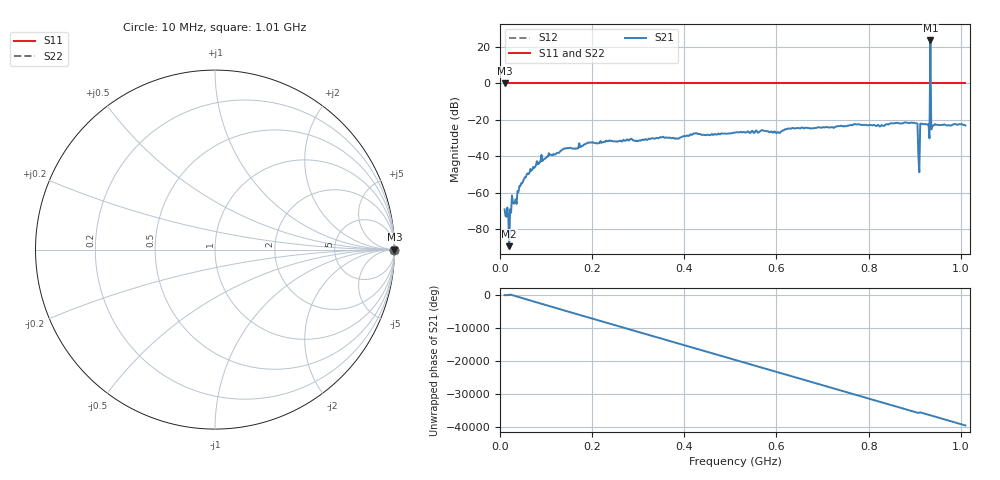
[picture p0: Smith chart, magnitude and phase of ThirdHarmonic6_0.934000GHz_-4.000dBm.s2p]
! 8/16/2025 6:25:20 AM
! C:\ANRITSUVNA\TEMP\TEMP.S2P
! CHANNEL.1
! TR.MEASUREMENT
! RAW.DATA
! RF.CORRECTION.OFF
! AVERAGING.OFF
! IF.BANDWIDTH: 5KHZ
! SWEEPTYPE:  FREQ.SWEEP(Linear)
! Reference Plane Port Info
! PORT:  PORT1  PORT2
! DISTANCE:  0  m  0  m
! TIME:  0  s  0  s
! PHASE.OFFSET:  0  deg.  0  deg.
! LOSS:  0  dB  0  dB
! REF.LOSS:  0  dB  0  dB
! REF.FREQ:  0  Hz  0  Hz
! Power Info
! POWER:  -20  dBm  -20  dBm
! EFF.POWER:  -20  dBm  -20  dBm
! SOURCE.ATTEN:  0  dB  0  dB
! TEST.ATTEN:  0  dB  0  dB
# GHZ S RI R 50.0
! FREQ.GHZ  S11RE  S11IM  S21RE  S21IM  S12RE  S12IM  S22RE  S22IM
!; PortSelection: Port_12
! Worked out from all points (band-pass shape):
!   501 points, 10 MHz to 1.01 GHz, reference 50 ohm
!   highest |S21| = 23.57 dB at 934 MHz (marker M1); lowest = -89.1 dB at 20 MHz (marker M2)
!   |S21| within 3 dB of the highest: 933.8881 MHz to 934.1231 MHz (235 kHz wide, 0.0252 % of centre)
!   lowest |S11| = 0.0 dB at 10 MHz (marker M3)
!   |S11| at or under -10 dB: nowhere
!   |S22| runs from 0.0 to 0.0 dB; largest |S21 - S12| = 14
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0.01  1 0  -1.53e-05 -0.000356  1 0  1 0
0.016  1 0  8.55e-05 -0.000391  1 0  1 0
0.02  1 0  1.5e-06 -3.49e-05  1 0  1 0
0.046  1 0  -0.00166 0.000788  1 0  1 0
0.086  1 0  0.00566 -0.00443  1 0  1 0
0.142  1 0  -0.015 -0.00699  1 0  1 0
0.178  1 0  -0.0187 -0.00535  1 0  1 0
0.344  1 0  0.0313 -0.00284  1 0  1 0
0.51  1 0  -0.0443 0.00852  1 0  1 0
0.678  1 0  -0.0142 -0.0572  1 0  1 0
0.844  1 0  0.0396 0.065  1 0  1 0
0.902  1 0  -0.0512 -0.0632  1 0  1 0
0.906  1 0  0.0249 0.0761  1 0  1 0
0.908  1 0  0.00996 0.00175  1 0  1 0
0.912  1 0  -0.078 -0.0125  1 0  1 0
0.916  1 0  0.0698 0.0346  1 0  1 0
0.928  1 0  -0.00506 -0.0749  1 0  1 0
0.93  1 0  -0.076 -0.00916  1 0  1 0
0.934  1 0  15.06 -0.9032  1 0  1 0
0.938  1 0  -0.0545 -0.0442  1 0  1 0
0.94  1 0  -0.055 0.0421  1 0  1 0
1.01  1 0  -0.0654 -0.027  1 0  1 0
